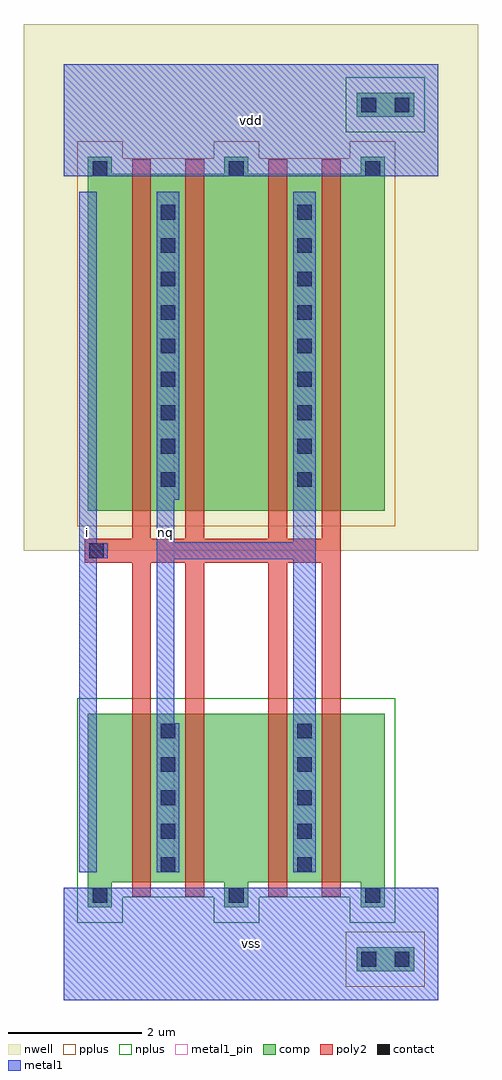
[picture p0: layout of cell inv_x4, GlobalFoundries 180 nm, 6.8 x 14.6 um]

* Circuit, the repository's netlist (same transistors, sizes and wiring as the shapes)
* inv_x4
.subckt inv_x4 vdd vss i nq
Mn0 vss i nq vss nfet_03v3 l=0.28um w=2.52um
Mn1 nq i vss vss nfet_03v3 l=0.28um w=2.52um
Mn2 vss i nq vss nfet_03v3 l=0.28um w=2.52um
Mn3 nq i vss vss nfet_03v3 l=0.28um w=2.52um
Mp0 vdd i nq vdd pfet_03v3 l=0.28um w=5.04um
Mp1 nq i vdd vdd pfet_03v3 l=0.28um w=5.04um
Mp2 vdd i nq vdd pfet_03v3 l=0.28um w=5.04um
Mp3 nq i vdd vdd pfet_03v3 l=0.28um w=5.04um
.ends inv_x4

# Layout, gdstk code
import gdstk
lib = gdstk.Library(unit=1e-6, precision=1e-09)
def R(c, l, rs):  # rectangles x0, y0, x1, y1
    for r in rs: c.add(gdstk.rectangle(r[:2], r[2:], *l))
def A(c, l, x, y, w, h, nx, ny, dx, dy):  # array of equal rectangles
    R(c, l, [(x+i*dx, y+j*dy, x+i*dx+w, y+j*dy+h) for i in range(nx) for j in range(ny)])
def P(c, l, *ps):  # polygons
    for p in ps: c.add(gdstk.Polygon(p, *l))
nwell = (21, 0)
comp = (22, 0)
poly2 = (30, 0)
pplus = (31, 0)
nplus = (32, 0)
contact = (33, 0)
metal1 = (34, 0)
metal1_pin = (34, 10)

inv_x4 = lib.new_cell('inv_x4')
R(inv_x4, nwell, [(-0.6,6.72,6.2,14.6)])
R(inv_x4, comp, [(4.38,0.43,5.24,0.79), (4.38,13.21,5.24,13.57)])
P(inv_x4, comp, [(0.36,1.385),(0.36,4.285),(4.8,4.285),(4.8,1.385),(4.44,1.385),(4.44,1.765),(2.76,1.765),(2.76,1.385),(2.4,1.385),(2.4,1.765),(0.72,1.765),(0.72,1.385)],
  [(0.36,7.32),(0.36,12.615),(0.72,12.615),(0.72,12.36),(2.4,12.36),(2.4,12.615),(2.76,12.615),(2.76,12.36),(4.44,12.36),(4.44,12.615),(4.8,12.615),(4.8,7.32)])
P(inv_x4, poly2, [(1.02,1.545),(1.02,6.54),(0.31,6.54),(0.31,6.9),(1.02,6.9),(1.02,12.58),(1.3,12.58),(1.3,6.9),(1.82,6.9),(1.82,12.58),(2.1,12.58),(2.1,6.9),(3.06,6.9),(3.06,12.58),(3.34,12.58),(3.34,6.9),(3.86,6.9),(3.86,12.58),(4.14,12.58),(4.14,1.545),(3.86,1.545),(3.86,6.54),(3.34,6.54),(3.34,1.545),(3.06,1.545),(3.06,6.54),(2.1,6.54),(2.1,1.545),(1.82,1.545),(1.82,6.54),(1.3,6.54),(1.3,1.545)])
R(inv_x4, pplus, [(4.22,0.2,5.4,1.02)])
P(inv_x4, pplus, [(0.2,7.09),(0.2,12.845),(0.88,12.845),(0.88,12.59),(2.24,12.59),(2.24,12.845),(2.92,12.845),(2.92,12.59),(4.28,12.59),(4.28,12.845),(4.96,12.845),(4.96,7.09)])
R(inv_x4, nplus, [(4.22,12.98,5.4,13.8)])
P(inv_x4, nplus, [(0.2,1.155),(0.2,4.515),(4.96,4.515),(4.96,1.155),(4.28,1.155),(4.28,1.535),(2.92,1.535),(2.92,1.155),(2.24,1.155),(2.24,1.535),(0.88,1.535),(0.88,1.155)])
A(inv_x4, contact, 0.43, 1.455, 0.22, 0.22, 3, 2, 2.04, 10.87)
A(inv_x4, contact, 1.45, 1.915, 0.22, 0.22, 1, 5, 0, 0.5)
A(inv_x4, contact, 3.49, 1.915, 0.22, 0.22, 1, 5, 0, 0.5)
A(inv_x4, contact, 1.45, 7.675, 0.22, 0.22, 1, 9, 0, 0.5)
A(inv_x4, contact, 3.49, 7.675, 0.22, 0.22, 1, 9, 0, 0.5)
R(inv_x4, contact, [(4.45,0.5,4.67,0.72), (4.95,0.5,5.17,0.72), (0.38,6.61,0.6,6.83), (4.45,13.28,4.67,13.5), (4.95,13.28,5.17,13.5)])
R(inv_x4, metal1, [(0,0,5.6,1.68), (0,12.32,5.6,14)])
P(inv_x4, metal1, [(0.23,1.91),(0.23,12.09),(0.49,12.09),(0.49,6.835),(0.66,6.835),(0.66,6.605),(0.49,6.605),(0.49,1.91)],
  [(1.39,1.91),(1.39,12.09),(1.73,12.09),(1.73,7.48),(1.65,7.48),(1.65,6.85),(3.43,6.85),(3.43,12.09),(3.77,12.09),(3.77,1.91),(3.43,1.91),(3.43,6.59),(1.65,6.59),(1.65,4.14),(1.73,4.14),(1.73,1.91)])
R(inv_x4, metal1_pin, [(0,0,5.6,1.68), (0.23,1.91,0.49,12.09), (1.39,1.91,1.65,12.09), (0,12.32,5.6,14)])
inv_x4.add(gdstk.Label('i', (0.36,7), layer=34, texttype=10))
inv_x4.add(gdstk.Label('vss', (2.8,0.84), layer=34, texttype=10))
inv_x4.add(gdstk.Label('vdd', (2.8,13.16), layer=34, texttype=10))
inv_x4.add(gdstk.Label('nq', (1.52,7), layer=34, texttype=10))

lib.write_gds('inv_x4.gds')
